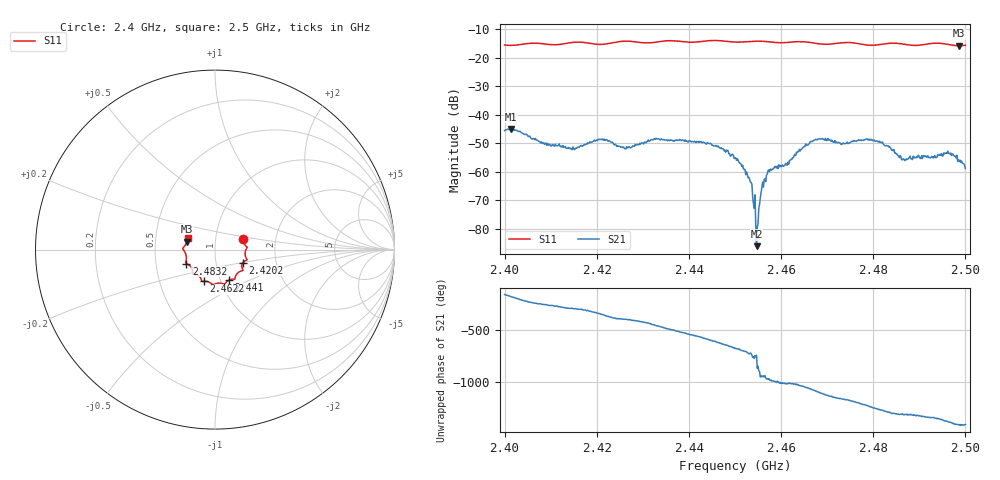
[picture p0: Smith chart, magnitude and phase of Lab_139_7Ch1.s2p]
# Hz S RI R 50
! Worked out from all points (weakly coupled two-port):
!   601 points, 2.4 GHz to 2.5 GHz, reference 50 ohm
!   highest |S21| = -45.05 dB at 2.4013 GHz (marker M1); lowest = -86.2 dB at 2.4547 GHz (marker M2)
!   lowest |S11| = -15.8 dB at 2.4987 GHz (marker M3), VSWR 1.39, Z = 36.4 + j3.35 ohm
!   |S11| at or under -10 dB: start of sweep to end of sweep
!   S12 and S22 are empty: the file has one direction only
!   S11 on the Smith chart (normalised r, x): 2.4 GHz: 1.36, +0.17; 2.4202 GHz: 1.35, -0.20; 2.441 GHz: 1.09, -0.39; 2.4622 GHz: 0.83, -0.30; 2.4832 GHz: 0.72, -0.12; 2.5 GHz: 0.73, +0.10
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2.4e9  0.156 0.0595  -0.00494 -0.00173  0 0  0 0
2.401333e9  0.1585 0.0434  -0.00559 -7.03e-06  0 0  0 0
2.409667e9  0.1703 -0.00459  -0.000288 0.00297  0 0  0 0
2.416667e9  0.1775 -0.0583  0.00154 0.00242  0 0  0 0
2.420167e9  0.1554 -0.0723  0.00325 0.00126  0 0  0 0
2.426333e9  0.157 -0.1159  0.00197 -0.00155  0 0  0 0
2.433333e9  0.1129 -0.1526  -0.000832 -0.00369  0 0  0 0
2.441e9  0.0764 -0.1708  -0.00324 0.000738  0 0  0 0
2.45e9  0.0261 -0.1862  0.00128 0.00118  0 0  0 0
2.453167e9  -0.00145 -0.1925  0.000735 -8.68e-05  0 0  0 0
2.454667e9  -0.00874 -0.1952  4.57e-05 -1.79e-05  0 0  0 0
2.455e9  -0.00995 -0.1953  -7.47e-05 -9.69e-05  0 0  0 0
2.456e9  -0.0138 -0.1936  -0.000483 0.000446  0 0  0 0
2.457333e9  -0.0205 -0.1889  -0.000438 0.000974  0 0  0 0
2.462167e9  -0.0634 -0.1769  0.000677 0.0015  0 0  0 0
2.466667e9  -0.0765 -0.1665  0.00336 0.000515  0 0  0 0
2.483167e9  -0.1601 -0.0779  -0.00249 0.00131  0 0  0 0
2.483333e9  -0.1609 -0.0775  -0.00255 0.00122  0 0  0 0
2.486667e9  -0.1609 -0.0622  -0.001 0.00131  0 0  0 0
2.495833e9  -0.1728 0.015  0.000736 0.00201  0 0  0 0
2.498667e9  -0.1557 0.0448  0.00129 0.000755  0 0  0 0
2.5e9  -0.153 0.0634  0.000929 0.000651  0 0  0 0
